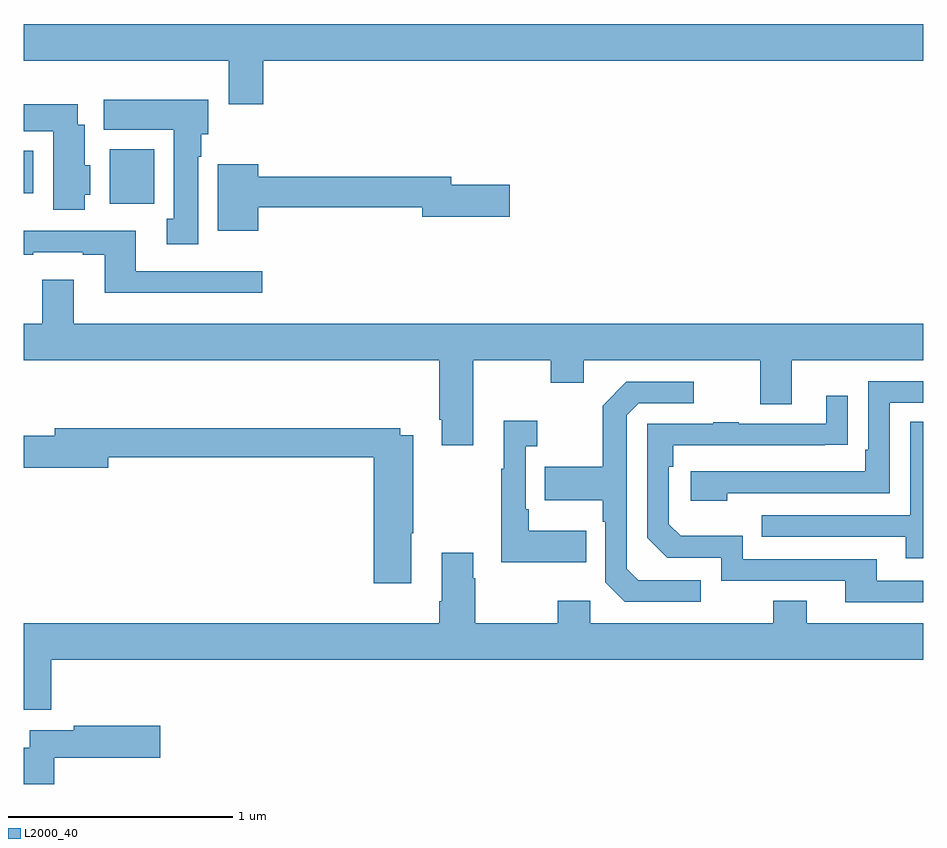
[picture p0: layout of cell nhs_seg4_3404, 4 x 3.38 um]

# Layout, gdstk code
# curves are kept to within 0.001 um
import gdstk
lib = gdstk.Library(unit=1e-6, precision=1e-09)
def R(c, l, rs):  # rectangles x0, y0, x1, y1
    for r in rs: c.add(gdstk.rectangle(r[:2], r[2:], *l))
def P(c, l, *ps):  # polygons
    for p in ps: c.add(gdstk.Polygon(p, *l))
L2000_40 = (2000, 40)

nhs_seg4_3404 = lib.new_cell('nhs_seg4_3404')
R(nhs_seg4_3404, L2000_40, [(291.383,781.532,291.58,781.774), (291,781.58,291.043,781.768)])
P(nhs_seg4_3404, L2000_40, [(292.064,782.168),(295,782.168),(295,782.332),(291,782.332),(291,782.168),(291.911,782.168),(291.911,781.974),(292.064,781.974)],
  [(291.775,781.742),(291.79,781.742),(291.79,781.842),(291.82,781.842),(291.82,781.996),(291.356,781.996),(291.356,781.862),(291.668,781.862),(291.668,781.466),(291.635,781.466),(291.635,781.353),(291.775,781.353)],
  [(291.271,781.572),(291.295,781.572),(291.295,781.704),(291.271,781.704),(291.271,781.885),(291.241,781.885),(291.241,781.975),(291,781.975),(291,781.856),(291.131,781.856),(291.131,781.505),(291.271,781.505)],
  [(292.042,781.516),(292.772,781.516),(292.772,781.474),(293.161,781.474),(293.161,781.616),(292.9,781.616),(292.9,781.652),(292.042,781.652),(292.042,781.708),(291.863,781.708),(291.863,781.412),(292.042,781.412)],
  [(292.06,781.233),(291.499,781.233),(291.499,781.413),(291,781.413),(291,781.305),(291.043,781.305),(291.043,781.317),(291.263,781.317),(291.263,781.305),(291.359,781.305),(291.359,781.136),(292.06,781.136)],
  [(292.999,780.836),(293.344,780.836),(293.344,780.737),(293.491,780.737),(293.491,780.836),(294.275,780.836),(294.275,780.642),(294.415,780.642),(294.415,780.836),(295,780.836),(295,781),(291.223,781),(291.223,781.195),(291.083,781.195),(291.083,781),(291,781),(291,780.836),(292.847,780.836),(292.847,780.571),(292.859,780.571),(292.859,780.459),(292.999,780.459)],
  [(294.128,780.246),(294.852,780.246),(294.852,780.648),(295,780.648),(295,780.744),(294.756,780.744),(294.756,780.439),(294.743,780.439),(294.743,780.342),(293.967,780.342),(293.967,780.212),(294.128,780.212)],
  [(294.01,779.859),(293.733,779.859),(293.682,779.91),(293.682,780.591),(293.736,780.645),(293.98,780.645),(293.98,780.741),(293.679,780.741),(293.574,780.635),(293.574,780.363),(293.317,780.363),(293.317,780.215),(293.574,780.215),(293.574,780.119),(293.586,780.119),(293.586,779.85),(293.673,779.763),(294.01,779.763)],
  [(295,779.856),(294.793,779.856),(294.793,779.952),(294.198,779.952),(294.198,780.055),(293.921,780.055),(293.868,780.108),(293.868,780.362),(293.888,780.362),(293.888,780.459),(294.665,780.46),(294.665,780.679),(294.569,780.679),(294.569,780.555),(294.179,780.555),(294.179,780.56),(294.067,780.56),(294.067,780.555),(293.772,780.555),(293.772,780.048),(293.862,779.958),(294.102,779.958),(294.102,779.856),(294.653,779.856),(294.653,779.76),(295,779.76)],
  [(293.501,780.079),(293.245,780.079),(293.245,780.175),(293.232,780.175),(293.232,780.455),(293.284,780.455),(293.284,780.568),(293.135,780.568),(293.135,780.355),(293.124,780.355),(293.124,779.939),(293.501,779.939)],
  [(295,780.563),(294.942,780.563),(294.942,780.147),(294.283,780.147),(294.283,780.051),(294.923,780.051),(294.923,779.957),(295,779.957)],
  [(292.723,780.067),(292.731,780.067),(292.731,780.502),(292.674,780.502),(292.674,780.535),(291.137,780.535),(291.137,780.501),(291,780.501),(291,780.359),(291.376,780.359),(291.376,780.406),(292.556,780.406),(292.556,779.844),(292.723,779.844)],
  [(292.859,779.98),(292.859,779.764),(292.847,779.764),(292.847,779.668),(291,779.668),(291,779.283),(291.121,779.283),(291.121,779.504),(295,779.504),(295,779.668),(294.481,779.668),(294.481,779.767),(294.334,779.767),(294.334,779.668),(293.52,779.668),(293.52,779.767),(293.374,779.767),(293.374,779.668),(293.007,779.668),(293.007,779.867),(292.999,779.867),(292.999,779.98)],
  [(291.136,779.069),(291.607,779.069),(291.607,779.211),(291.222,779.211),(291.222,779.191),(291.026,779.191),(291.026,779.113),(291,779.113),(291,778.952),(291.136,778.952)])

lib.write_gds('nhs_seg4_3404.gds')
